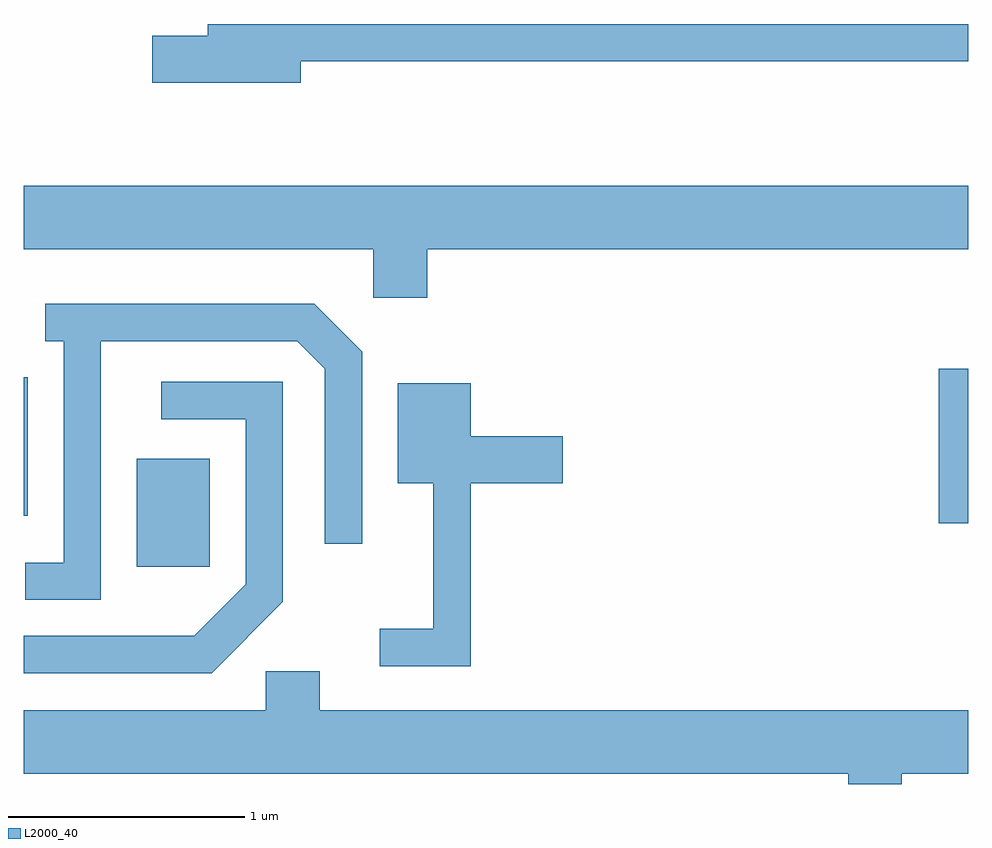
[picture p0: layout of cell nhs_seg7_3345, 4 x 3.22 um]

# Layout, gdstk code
import gdstk
lib = gdstk.Library(unit=1e-6, precision=1e-09)
def R(c, l, rs):  # rectangles x0, y0, x1, y1
    for r in rs: c.add(gdstk.rectangle(r[:2], r[2:], *l))
def P(c, l, *ps):  # polygons
    for p in ps: c.add(gdstk.Polygon(p, *l))
L2000_40 = (2000, 40)

nhs_seg7_3345 = lib.new_cell('nhs_seg7_3345')
R(nhs_seg7_3345, L2000_40, [(288.091,1735.171,288.399,1735.629), (291.486,1735.356,291.611,1736.009), (287.611,1735.388,287.629,1735.974)])
P(nhs_seg7_3345, L2000_40, [(288.784,1737.311),(291.611,1737.311),(291.611,1737.469),(288.391,1737.469),(288.391,1737.419),(288.156,1737.419),(288.156,1737.221),(288.784,1737.221)],
  [(289.319,1736.516),(291.611,1736.516),(291.611,1736.784),(287.611,1736.784),(287.611,1736.516),(289.091,1736.516),(289.091,1736.311),(289.319,1736.311)],
  [(287.939,1736.126),(288.769,1736.126),(288.886,1736.009),(288.886,1735.268),(289.044,1735.268),(289.044,1736.082),(288.842,1736.284),(287.703,1736.284),(287.703,1736.126),(287.781,1736.126),(287.781,1735.189),(287.618,1735.189),(287.618,1735.031),(287.939,1735.031)],
  [(288.709,1735.024),(288.709,1735.954),(288.193,1735.954),(288.193,1735.796),(288.551,1735.796),(288.551,1735.097),(288.334,1734.879),(287.611,1734.879),(287.611,1734.721),(288.407,1734.721)],
  [(289.504,1735.526),(289.894,1735.526),(289.894,1735.724),(289.504,1735.724),(289.504,1735.949),(289.196,1735.949),(289.196,1735.526),(289.346,1735.526),(289.346,1734.909),(289.118,1734.909),(289.118,1734.751),(289.504,1734.751)],
  [(291.329,1734.296),(291.611,1734.296),(291.611,1734.564),(288.864,1734.564),(288.864,1734.729),(288.636,1734.729),(288.636,1734.564),(287.611,1734.564),(287.611,1734.296),(291.101,1734.296),(291.101,1734.252),(291.329,1734.252)])

lib.write_gds('nhs_seg7_3345.gds')
